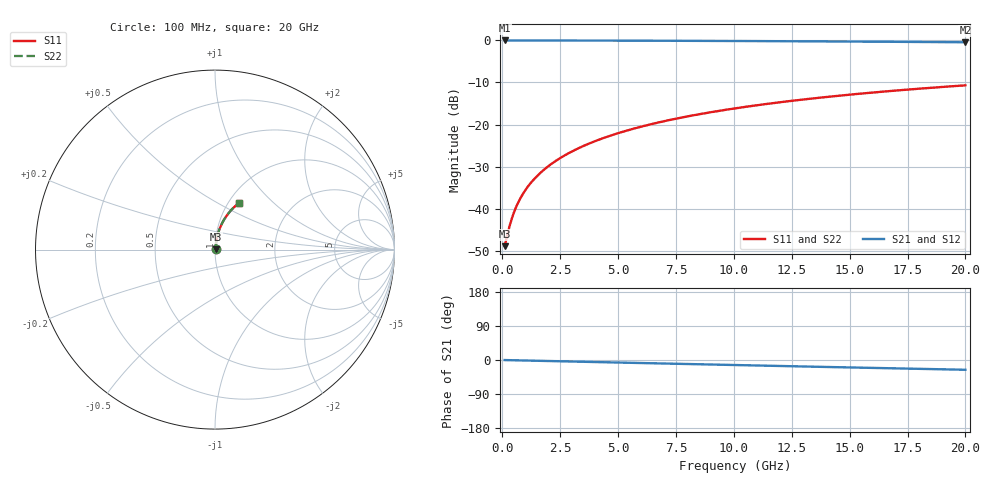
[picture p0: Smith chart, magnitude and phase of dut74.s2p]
! Touchstone file exported from HFSS 2026.1.0
!  File:  C:/ffzhzh/LocalFiles/Ansys_Project_Files/temp_train_TMRDL_74_1782881253_8056.aedt
!  Generated:  12:48:47 PM Jul  1, 2026
!  Design:  TMRDL
!  Project:  temp_train_TMRDL_74_1782881253_8056
! Variables:
!  h_bsmrdl = 2um
!  h_ox = 20um
!  h_rdl = 5um
!  h_sub = 80um
!  h_tmrdl = 2.17um
!  h_tsv = 80um
!  h_via = 3um
!  l_bsmrdl = 300um
!  l_sub = 708.67um
!  l_tmrdl = 308.67um
!  m_sub = 200um
!  pitch = 47.57um
!  r_tsv = 6um
!  s_tmrdl = 10um
!  w_bsmrdl = 18um
!  w_sub = 500um
!  w_tmrdl = 17.65um
!  x_tsv_center1 = 317.495um
!  x_tsv_center2 = 635.495um
!  x_tsv_center3 = 961.815um
!  x_tsv_center4 = 1279.815um
!  x_tsv_center5 = 1606.135um
!  x_tsv_center6 = 1924.135um
# GHz S MA R 50.000000
! Terminal data exported
! Port[1] = TM_RDL1_1_T1
! Port[2] = TM_RDL1_1_T2
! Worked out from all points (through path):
!   200 points, 100 MHz to 20 GHz, reference 50 ohm
!   highest |S21| = -0.03 dB at 100 MHz (marker M1); lowest = -0.5 dB at 20 GHz (marker M2)
!   group delay of S21, straight-line fit = 3.59 ps
!   lowest |S11| = -48.9 dB at 100 MHz (marker M3), VSWR 1.01, Z = 50.3 + j0.17 ohm
!   |S11| at or under -10 dB: start of sweep to end of sweep
!   |S22| runs from -48.9 to -10.7 dB; largest |S21 - S12| = 5.2e-15
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0.1  0.003597 28.0  0.9968 -0.1  0.9968 -0.1  0.003597 28.0
! Gamma 0 0 0 0
! Port Impedance 50 0 50 0
0.3  0.006021 56.7  0.9967 -0.4  0.9967 -0.4  0.006021 56.7
0.4  0.007492 63.0  0.9966 -0.6  0.9966 -0.6  0.007492 63.0
0.5  0.009008 67.0  0.9965 -0.7  0.9965 -0.7  0.009008 67.0
0.6  0.01054 69.8  0.9965 -0.8  0.9965 -0.8  0.01054 69.8
0.7  0.01208 71.9  0.9964 -1.0  0.9964 -1.0  0.01208 71.9
0.9  0.01516 74.7  0.9962 -1.2  0.9962 -1.2  0.01516 74.7
1.2  0.01979 77.3  0.996 -1.6  0.996 -1.6  0.01979 77.3
1.4  0.02289 78.3  0.9959 -1.9  0.9959 -1.9  0.02289 78.3
1.7  0.02754 79.5  0.9957 -2.3  0.9957 -2.3  0.02754 79.5
2.2  0.03533 80.5  0.9954 -3.0  0.9954 -3.0  0.03533 80.5
2.8  0.04469 80.9  0.9949 -3.8  0.9949 -3.8  0.04469 80.9
3.5  0.05562 80.9  0.9943 -4.7  0.9943 -4.7  0.05562 81.0
4.2  0.06653 80.6  0.9935 -5.6  0.9935 -5.6  0.06653 80.7
5  0.07896 80.1  0.9925 -6.7  0.9925 -6.7  0.07896 80.1
5.9  0.09288 79.3  0.9911 -7.9  0.9911 -7.9  0.09288 79.3
6.8  0.1067 78.4  0.9896 -9.1  0.9896 -9.1  0.1067 78.4
8.3  0.1295 76.7  0.9866 -11.1  0.9866 -11.1  0.1295 76.7
10.1  0.1564 74.6  0.9823 -13.4  0.9823 -13.4  0.1564 74.6
13.4  0.2041 70.6  0.9728 -17.6  0.9728 -17.6  0.2041 70.6
16.7  0.2494 66.6  0.9615 -21.8  0.9615 -21.8  0.2494 66.7
20  0.2922 62.7  0.9488 -25.8  0.9488 -25.8  0.2922 62.8
